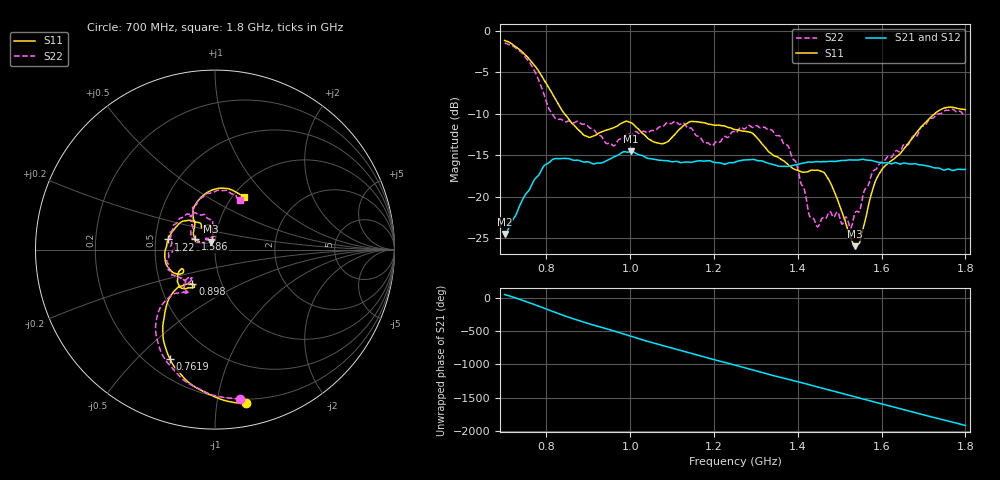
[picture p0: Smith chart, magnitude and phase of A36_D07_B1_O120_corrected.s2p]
! Created with skrf 1.9.0 (http://scikit-rf.org).
# Hz S RI R 50.0
!freq ReS11 ImS11 ReS21 ImS21 ReS12 ImS12 ReS22 ImS22
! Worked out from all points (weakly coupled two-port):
!   1601 points, 700 MHz to 1.8 GHz, reference 50 ohm
!   highest |S21| = -14.52 dB at 1.002 GHz (marker M1); lowest = -24.5 dB at 700.7 MHz (marker M2)
!   lowest |S11| = -25.9 dB at 1.537 GHz (marker M3), VSWR 1.11, Z = 47.6 + j4.29 ohm
!   |S11| at or under -10 dB: 842.9 MHz to 1.727 GHz (883.6 MHz wide, 68.8 % of centre)
!   |S22| runs from -23.8 to -1.5 dB; largest |S21 - S12| = 0.0035
!   S11 on the Smith chart (normalised r, x): 700 MHz: 0.17, -1.21; 761.9 MHz: 0.29, -0.63; 898 MHz: 0.73, -0.30; 1.22 GHz: 0.58, +0.07; 1.586 GHz: 0.80, +0.10; 1.8 GHz: 1.12, +0.74
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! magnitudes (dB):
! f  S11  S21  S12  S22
! 700 MHz  -1.2  -24.5  -24.2  -1.5
! 700.7 MHz  -1.2  -24.5  -24.2  -1.5
! 761.9 MHz  -3.6  -18.9  -18.8  -4.0
! 818.9 MHz  -8.0  -15.4  -15.5  -10.4
! 883.6 MHz  -12.3  -15.7  -15.6  -11.2
! 898 MHz  -12.8  -15.8  -15.8  -11.4
! 959.2 MHz  -11.7  -15.2  -15.2  -13.8
! 1.002 GHz  -11.1  -14.5  -14.6  -12.6
! 1.067 GHz  -13.5  -15.6  -15.5  -11.7
! 1.143 GHz  -10.9  -15.9  -15.8  -11.7
! 1.22 GHz  -11.4  -16.0  -16.0  -13.0
! 1.25 GHz  -11.9  -15.8  -15.8  -12.3
! 1.357 GHz  -15.4  -16.3  -16.3  -12.7
! 1.396 GHz  -16.8  -16.1  -16.1  -15.9
! 1.434 GHz  -16.8  -15.8  -15.8  -22.5
! 1.473 GHz  -17.9  -15.7  -15.7  -22.0
! 1.526 GHz  -24.9  -15.6  -15.6  -23.8
! 1.537 GHz  -25.9  -15.6  -15.6  -21.9
! 1.586 GHz  -18.0  -15.8  -15.8  -16.7
! 1.617 GHz  -15.9  -15.9  -15.9  -15.2
! 1.733 GHz  -9.7  -16.5  -16.6  -10.0
! 1.8 GHz  -9.5  -16.7  -16.7  -10.2
